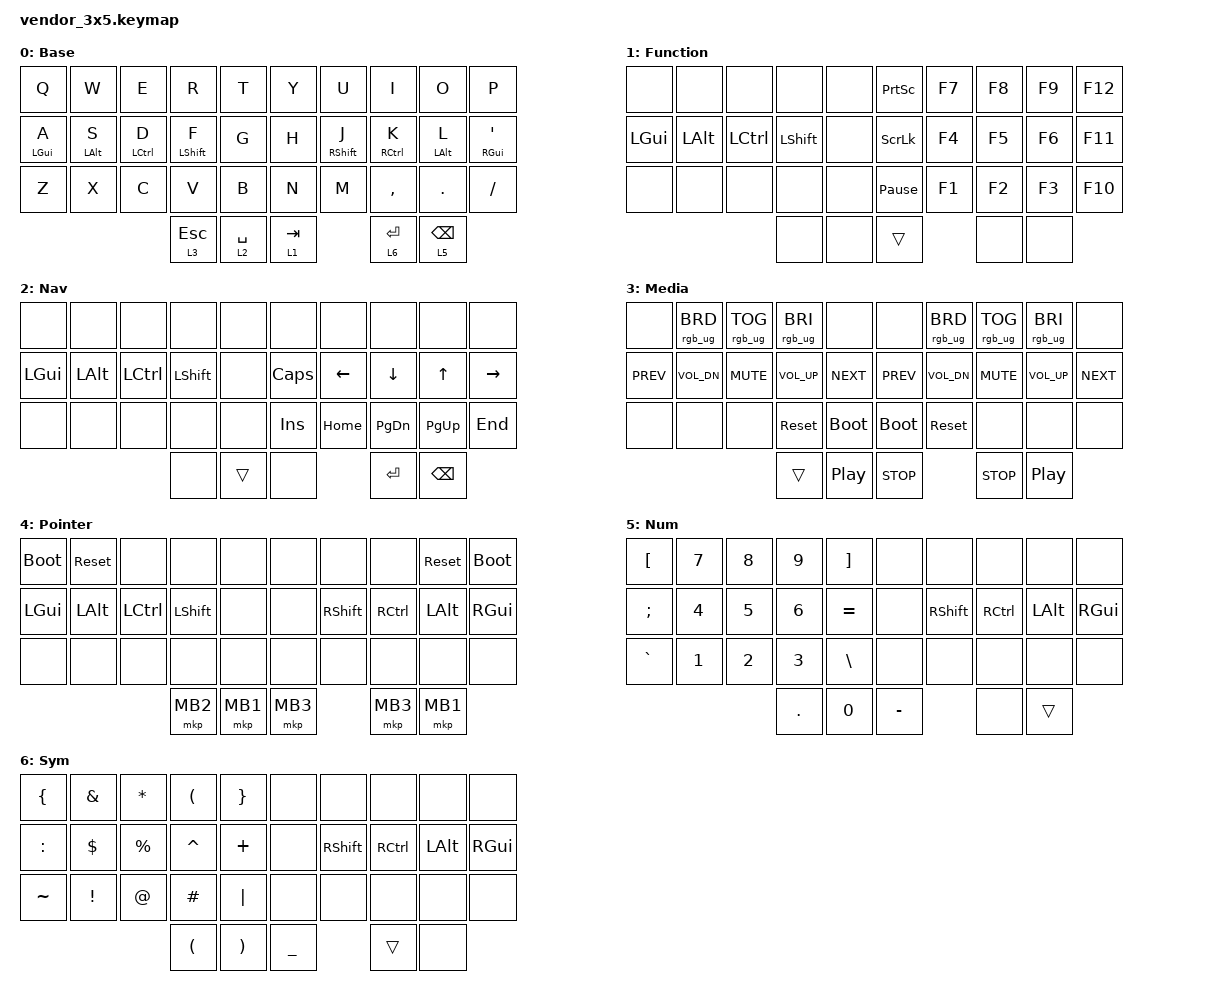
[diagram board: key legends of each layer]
/* upstream bindings and behaviors */
#include <behaviors.dtsi>
#include <dt-bindings/zmk/bt.h>
#include <dt-bindings/zmk/keys.h>
#include <dt-bindings/zmk/mouse.h>
#include <dt-bindings/zmk/outputs.h>
#include <dt-bindings/zmk/rgb.h>
#include <behaviors/mouse_keys.dtsi>
#include <dt-bindings/zmk/ext_power.h>

/* local overlays */
#include "macros.dtsi"
#include "behaviors.dtsi"
#include "combos.dtsi"

/ {
    behaviors {
        // Layer-tap behaviors matching QMK LT() function
        lt_esc_med: layer_tap_esc_media {
            compatible = "zmk,behavior-hold-tap";
            #binding-cells = <2>;
            flavor = "tap-preferred";
            tapping-term-ms = <200>;
            quick-tap-ms = <175>;
            bindings = <&mo>, <&kp>;
        };

        lt_spc_nav: layer_tap_space_nav {
            compatible = "zmk,behavior-hold-tap";
            #binding-cells = <2>;
            flavor = "tap-preferred";
            tapping-term-ms = <200>;
            quick-tap-ms = <175>;
            bindings = <&mo>, <&kp>;
        };

        lt_tab_fun: layer_tap_tab_function {
            compatible = "zmk,behavior-hold-tap";
            #binding-cells = <2>;
            flavor = "tap-preferred";
            tapping-term-ms = <200>;
            quick-tap-ms = <175>;
            bindings = <&mo>, <&kp>;
        };

        lt_ent_sym: layer_tap_enter_symbols {
            compatible = "zmk,behavior-hold-tap";
            #binding-cells = <2>;
            flavor = "tap-preferred";
            tapping-term-ms = <200>;
            quick-tap-ms = <175>;
            bindings = <&mo>, <&kp>;
        };

        lt_bsp_num: layer_tap_backspace_numeral {
            compatible = "zmk,behavior-hold-tap";
            #binding-cells = <2>;
            flavor = "tap-preferred";
            tapping-term-ms = <200>;
            quick-tap-ms = <175>;
            bindings = <&mo>, <&kp>;
        };

        // Home row mod-taps (GACS) - Left hand
        ht_a: homerow_mods_left_gui {
            compatible = "zmk,behavior-hold-tap";
            #binding-cells = <2>;
            flavor = "balanced";
            tapping-term-ms = <280>;
            quick-tap-ms = <175>;
            require-prior-idle-ms = <150>;
            bindings = <&kp>, <&kp>;
            hold-trigger-key-positions = <5 6 7 8 9 15 16 17 18 19 25 26 27 28 29 32 33 34>;
            hold-trigger-on-release;
        };

        ht_s: homerow_mods_left_alt {
            compatible = "zmk,behavior-hold-tap";
            #binding-cells = <2>;
            flavor = "balanced";
            tapping-term-ms = <280>;
            quick-tap-ms = <175>;
            require-prior-idle-ms = <150>;
            bindings = <&kp>, <&kp>;
            hold-trigger-key-positions = <5 6 7 8 9 15 16 17 18 19 25 26 27 28 29 32 33 34>;
            hold-trigger-on-release;
        };

        ht_d: homerow_mods_left_ctrl {
            compatible = "zmk,behavior-hold-tap";
            #binding-cells = <2>;
            flavor = "balanced";
            tapping-term-ms = <280>;
            quick-tap-ms = <175>;
            require-prior-idle-ms = <150>;
            bindings = <&kp>, <&kp>;
            hold-trigger-key-positions = <5 6 7 8 9 15 16 17 18 19 25 26 27 28 29 32 33 34>;
            hold-trigger-on-release;
        };

        ht_f: homerow_mods_left_shift {
            compatible = "zmk,behavior-hold-tap";
            #binding-cells = <2>;
            flavor = "balanced";
            tapping-term-ms = <280>;
            quick-tap-ms = <175>;
            require-prior-idle-ms = <150>;
            bindings = <&kp>, <&kp>;
            hold-trigger-key-positions = <5 6 7 8 9 15 16 17 18 19 25 26 27 28 29 32 33 34>;
            hold-trigger-on-release;
        };

        // Home row mod-taps (GACS) - Right hand
        ht_j: homerow_mods_right_shift {
            compatible = "zmk,behavior-hold-tap";
            #binding-cells = <2>;
            flavor = "balanced";
            tapping-term-ms = <280>;
            quick-tap-ms = <175>;
            require-prior-idle-ms = <150>;
            bindings = <&kp>, <&kp>;
            hold-trigger-key-positions = <0 1 2 3 4 10 11 12 13 14 20 21 22 23 24 30 31 32>;
            hold-trigger-on-release;
        };

        ht_k: homerow_mods_right_ctrl {
            compatible = "zmk,behavior-hold-tap";
            #binding-cells = <2>;
            flavor = "balanced";
            tapping-term-ms = <280>;
            quick-tap-ms = <175>;
            require-prior-idle-ms = <150>;
            bindings = <&kp>, <&kp>;
            hold-trigger-key-positions = <0 1 2 3 4 10 11 12 13 14 20 21 22 23 24 30 31 32>;
            hold-trigger-on-release;
        };

        ht_l: homerow_mods_right_alt {
            compatible = "zmk,behavior-hold-tap";
            #binding-cells = <2>;
            flavor = "balanced";
            tapping-term-ms = <280>;
            quick-tap-ms = <175>;
            require-prior-idle-ms = <150>;
            bindings = <&kp>, <&kp>;
            hold-trigger-key-positions = <0 1 2 3 4 10 11 12 13 14 20 21 22 23 24 30 31 32>;
            hold-trigger-on-release;
        };

        ht_quot: homerow_mods_right_gui {
            compatible = "zmk,behavior-hold-tap";
            #binding-cells = <2>;
            flavor = "balanced";
            tapping-term-ms = <280>;
            quick-tap-ms = <175>;
            require-prior-idle-ms = <150>;
            bindings = <&kp>, <&kp>;
            hold-trigger-key-positions = <0 1 2 3 4 10 11 12 13 14 20 21 22 23 24 30 31 32>;
            hold-trigger-on-release;
        };
    };

/* --- KEYMAP CONFIG --- */
// ╭──────┬──────┬──────┬──────┬──────╮  ╭──────┬──────┬──────┬──────┬──────╮
//    00     01     02     03     04        05     06     07     08     09
// ├──────┼──────┼──────┼──────┼──────┤  ├──────┼──────┼──────┼──────┼──────┤
//    10     11     12     13     14        15     16     17     18     19
// ├──────┼──────┼──────┼──────┼──────┤  ├──────┼──────┼──────┼──────┼──────┤
//    20     21     22     23     24        25     26     27     28     29
// ╰──────┴──────┴──────┼──────┼──────┤  ├──────┼──────┼──────┴──────┴──────╯
//                         30     31     32        33     34
//                      ╰──────┴──────┴──────╯  ╰──────┴──────╯

// Layer definitions:
// 0: BASE - QWERTY with home row mods
// 1: FUNCTION - F-keys and system functions
// 2: NAVIGATION - Arrow keys and editing
// 3: MEDIA - RGB, audio, system controls
// 4: POINTER - Mouse and trackball functions
// 5: NUMERAL - Numbers and numpad symbols
// 6: SYMBOLS - Shifted symbols and punctuation

    keymap {
        compatible = "zmk,keymap";

        // Layer 0: BASE
        base_layer {
            display-name = "Base";
            bindings = <
// ╭─────────────┬─────────────┬─────────────┬─────────────┬─────────────╮   ╭─────────────┬─────────────┬─────────────┬─────────────┬─────────────╮
   &kp Q         &kp W         &kp E         &kp R         &kp T             &kp Y         &kp U         &kp I         &kp O         &kp P
// ├─────────────┼─────────────┼─────────────┼─────────────┼─────────────┤   ├─────────────┼─────────────┼─────────────┼─────────────┼─────────────┤
   &ht_a LGUI A  &ht_s LALT S  &ht_d LCTRL D &ht_f LSHFT F &kp G             &kp H         &ht_j RSHFT J &ht_k RCTRL K &ht_l LALT L  &ht_quot RGUI SQT
// ├─────────────┼─────────────┼─────────────┼─────────────┼─────────────┤   ├─────────────┼─────────────┼─────────────┼─────────────┼─────────────┤
   &kp Z         &kp X         &kp C         &kp V         &kp B             &kp N         &kp M         &kp COMMA     &kp DOT       &kp FSLH
// ╰─────────────┴─────────────┴─────────────┼─────────────┼─────────────┤   ├─────────────┼─────────────┼─────────────┴─────────────┴─────────────╯
                                             &lt_esc_med 3 ESC &lt_spc_nav 2 SPACE &lt_tab_fun 1 TAB    &lt_ent_sym 6 ENTER &lt_bsp_num 5 BSPC
//                                           ╰─────────────┴─────────────┴─────────────╯  ╰─────────────┴─────────────╯
            >;
        };

        // Layer 1: FUNCTION
        function_layer {
            display-name = "Function";
            bindings = <
// ╭─────────────┬─────────────┬─────────────┬─────────────┬─────────────╮   ╭─────────────┬─────────────┬─────────────┬─────────────┬─────────────╮
   &none         &none         &none         &none         &none             &kp PSCRN     &kp F7        &kp F8        &kp F9        &kp F12
// ├─────────────┼─────────────┼─────────────┼─────────────┼─────────────┤   ├─────────────┼─────────────┼─────────────┼─────────────┼─────────────┤
   &kp LGUI      &kp LALT      &kp LCTRL     &kp LSHFT     &none             &kp SLCK      &kp F4        &kp F5        &kp F6        &kp F11
// ├─────────────┼─────────────┼─────────────┼─────────────┼─────────────┤   ├─────────────┼─────────────┼─────────────┼─────────────┼─────────────┤
   &none         &none         &none         &none         &none             &kp PAUSE_BREAK &kp F1      &kp F2        &kp F3        &kp F10
// ╰─────────────┴─────────────┴─────────────┼─────────────┼─────────────┤   ├─────────────┼─────────────┼─────────────┴─────────────┴─────────────╯
                                             &none         &none    &trans   &none         &none
//                                           ╰─────────────┴─────────────┴─────────────╯  ╰─────────────┴─────────────╯
            >;
        };

        // Layer 2: NAVIGATION
        navigation_layer {
            display-name = "Nav";
            bindings = <
// ╭─────────────┬─────────────┬─────────────┬─────────────┬─────────────╮   ╭─────────────┬─────────────┬─────────────┬─────────────┬─────────────╮
   &none         &none         &none         &none         &none             &none         &none         &none         &none         &none
// ├─────────────┼─────────────┼─────────────┼─────────────┼─────────────┤   ├─────────────┼─────────────┼─────────────┼─────────────┼─────────────┤
   &kp LGUI      &kp LALT      &kp LCTRL     &kp LSHFT     &none             &kp CAPS      &kp LEFT      &kp DOWN      &kp UP        &kp RIGHT
// ├─────────────┼─────────────┼─────────────┼─────────────┼─────────────┤   ├─────────────┼─────────────┼─────────────┼─────────────┼─────────────┤
   &none         &none         &none         &none         &none             &kp INS       &kp HOME      &kp PG_DN     &kp PG_UP     &kp END
// ╰─────────────┴─────────────┴─────────────┼─────────────┼─────────────┤   ├─────────────┼─────────────┼─────────────┴─────────────┴─────────────╯
                                             &none         &trans   &none    &kp ENTER     &kp BSPC
//                                           ╰─────────────┴─────────────┴─────────────╯  ╰─────────────┴─────────────╯
            >;
        };

        // Layer 3: MEDIA
        media_layer {
            display-name = "Media";
            bindings = <
// ╭─────────────┬─────────────┬─────────────┬─────────────┬─────────────╮   ╭─────────────┬─────────────┬─────────────┬─────────────┬─────────────╮
   &none         &rgb_ug RGB_BRD &rgb_ug RGB_TOG &rgb_ug RGB_BRI &none       &none         &rgb_ug RGB_BRD &rgb_ug RGB_TOG &rgb_ug RGB_BRI &none
// ├─────────────┼─────────────┼─────────────┼─────────────┼─────────────┤   ├─────────────┼─────────────┼─────────────┼─────────────┼─────────────┤
   &kp C_PREV    &kp C_VOL_DN  &kp C_MUTE    &kp C_VOL_UP  &kp C_NEXT        &kp C_PREV    &kp C_VOL_DN  &kp C_MUTE    &kp C_VOL_UP  &kp C_NEXT
// ├─────────────┼─────────────┼─────────────┼─────────────┼─────────────┤   ├─────────────┼─────────────┼─────────────┼─────────────┼─────────────┤
   &none         &none         &none         &sys_reset    &bootloader       &bootloader   &sys_reset    &none         &none         &none
// ╰─────────────┴─────────────┴─────────────┼─────────────┼─────────────┤   ├─────────────┼─────────────┼─────────────┴─────────────┴─────────────╯
                                             &trans        &kp C_PP &kp C_STOP &kp C_STOP  &kp C_PP
//                                           ╰─────────────┴─────────────┴─────────────╯  ╰─────────────┴─────────────╯
            >;
        };

        // Layer 4: POINTER
        pointer_layer {
            display-name = "Pointer";
            bindings = <
// ╭─────────────┬─────────────┬─────────────┬─────────────┬─────────────╮   ╭─────────────┬─────────────┬─────────────┬─────────────┬─────────────╮
   &bootloader   &sys_reset    &none         &none         &none             &none         &none         &none         &sys_reset    &bootloader
// ├─────────────┼─────────────┼─────────────┼─────────────┼─────────────┤   ├─────────────┼─────────────┼─────────────┼─────────────┼─────────────┤
   &kp LGUI      &kp LALT      &kp LCTRL     &kp LSHFT     &none             &none         &kp RSHFT     &kp RCTRL     &kp LALT      &kp RGUI
// ├─────────────┼─────────────┼─────────────┼─────────────┼─────────────┤   ├─────────────┼─────────────┼─────────────┼─────────────┼─────────────┤
   &none         &none         &none         &none         &none             &none         &none         &none         &none         &none
// ╰─────────────┴─────────────┴─────────────┼─────────────┼─────────────┤   ├─────────────┼─────────────┼─────────────┴─────────────┴─────────────╯
                                             &mkp MB2      &mkp MB1 &mkp MB3  &mkp MB3      &mkp MB1
//                                           ╰─────────────┴─────────────┴─────────────╯  ╰─────────────┴─────────────╯
            >;
        };

        // Layer 5: NUMERAL
        numeral_layer {
            display-name = "Num";
            bindings = <
// ╭─────────────┬─────────────┬─────────────┬─────────────┬─────────────╮   ╭─────────────┬─────────────┬─────────────┬─────────────┬─────────────╮
   &kp LBKT      &kp N7        &kp N8        &kp N9        &kp RBKT          &none         &none         &none         &none         &none
// ├─────────────┼─────────────┼─────────────┼─────────────┼─────────────┤   ├─────────────┼─────────────┼─────────────┼─────────────┼─────────────┤
   &kp SEMI      &kp N4        &kp N5        &kp N6        &kp EQUAL         &none         &kp RSHFT     &kp RCTRL     &kp LALT      &kp RGUI
// ├─────────────┼─────────────┼─────────────┼─────────────┼─────────────┤   ├─────────────┼─────────────┼─────────────┼─────────────┼─────────────┤
   &kp GRAVE     &kp N1        &kp N2        &kp N3        &kp BSLH          &none         &none         &none         &none         &none
// ╰─────────────┴─────────────┴─────────────┼─────────────┼─────────────┤   ├─────────────┼─────────────┼─────────────┴─────────────┴─────────────╯
                                             &kp DOT       &kp N0   &kp MINUS &none        &trans
//                                           ╰─────────────┴─────────────┴─────────────╯  ╰─────────────┴─────────────╯
            >;
        };

        // Layer 6: SYMBOLS
        symbols_layer {
            display-name = "Sym";
            bindings = <
// ╭─────────────┬─────────────┬─────────────┬─────────────┬─────────────╮   ╭─────────────┬─────────────┬─────────────┬─────────────┬─────────────╮
   &kp LBRC      &kp AMPS      &kp ASTRK     &kp LPAR      &kp RBRC          &none         &none         &none         &none         &none
// ├─────────────┼─────────────┼─────────────┼─────────────┼─────────────┤   ├─────────────┼─────────────┼─────────────┼─────────────┼─────────────┤
   &kp COLON     &kp DLLR      &kp PRCNT     &kp CARET     &kp PLUS          &none         &kp RSHFT     &kp RCTRL     &kp LALT      &kp RGUI
// ├─────────────┼─────────────┼─────────────┼─────────────┼─────────────┤   ├─────────────┼─────────────┼─────────────┼─────────────┼─────────────┤
   &kp TILDE     &kp EXCL      &kp AT        &kp HASH      &kp PIPE          &none         &none         &none         &none         &none
// ╰─────────────┴─────────────┴─────────────┼─────────────┼─────────────┤   ├─────────────┼─────────────┼─────────────┴─────────────┴─────────────╯
                                             &kp LPAR      &kp RPAR &kp UNDER &trans       &none
//                                           ╰─────────────┴─────────────┴─────────────╯  ╰─────────────┴─────────────╯
            >;
        };
    };
};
